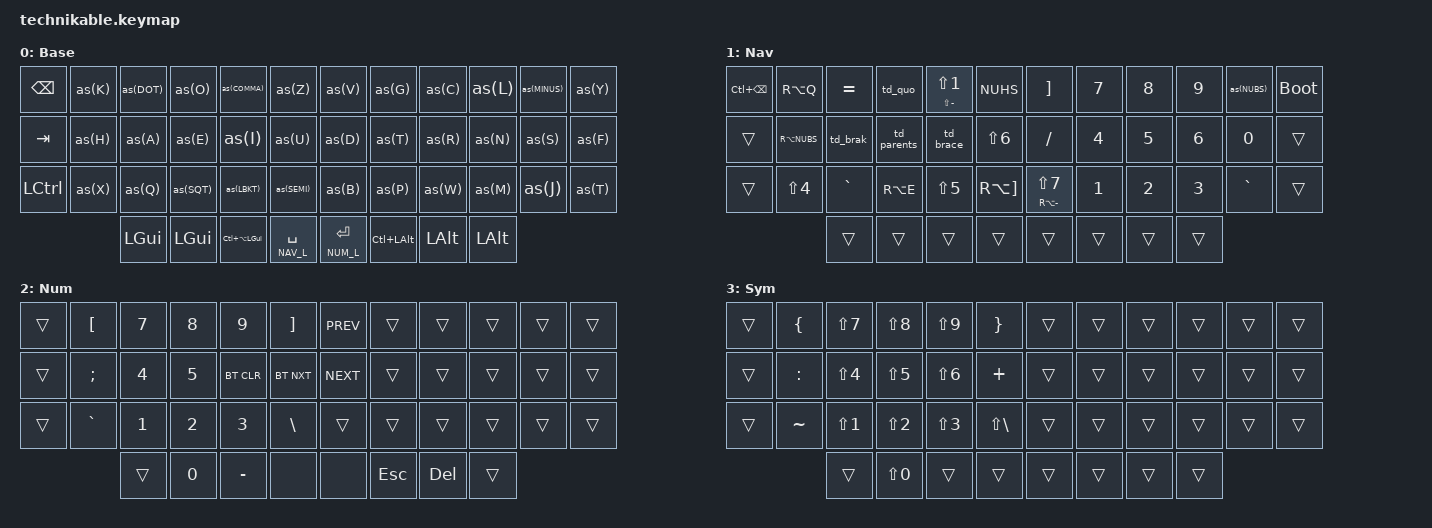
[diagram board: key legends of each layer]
/*
 * Copyright (c) 2022 Pete Johanson
 *
 * SPDX-License-Identifier: MIT
 */

#include <behaviors.dtsi>
#include <dt-bindings/zmk/keys.h>
#include <dt-bindings/zmk/bt.h>
#include <dt-bindings/zmk/outputs.h>

#define QWERTY_BASE 1

#define TBLE_ORTHO   true
// #define TBLE_MIT     true
// #define TBLE_DUAL_2U true

#define BAS_L 0
#define NAV_L 1
#define NUM_L 2
#define SYM_L 3

// Using layer taps on thumbs, having quick tap as well helps w/ repeating space/backspace
&lt { quick_tap_ms = <200>; };

#define BT(n) BT_SEL n
#define as(x) mt LS(x) x

/ {
    chosen {
       zmk,matrix_transform =
#ifdef TBLE_DUAL_2U
                       &dual_2u_transform;
#elif defined(TBLE_MIT)
                       &mit_transform;
#else
                       &ortho_transform;
#endif
    };

    conditional_layers {
        compatible = "zmk,conditional-layers";
        tri_layer {
          if-layers = <NAV_L NUM_L>;
          then-layer = <SYM_L>;
        };
    };

#define hold_tap_tap_dance_two_macros(labl, ht_labl, a1, a2, m1, m2) ht_labl: ht_labl {\
            compatible = "zmk,behavior-hold-tap";\
            label = #ht_labl;\
            #binding-cells = <2>;\
            flavor = "hold-preferred";\
            tapping-term-ms = <140>;\
            quick-tap-ms = <140>;\
            bindings = <m2>, <m1>;\
        };\
    labl: labl {\
            compatible = "zmk,behavior-tap-dance";\
            label = #labl;\
            #binding-cells = <0>;\
            tapping-term-ms = <140>;\
            bindings = <&mt a2 a1>, <&ht_labl 0 0>;\
        };

#define two_macros(l1, l2, s1, s2) l1: l1 {\
label = #l1;\
 compatible =  "zmk,behavior-macro";\
            #binding-cells = <0>;\
            wait-ms =<40>;\
            tap-ms =<40>;\
            bindings = s1;\
 };\
l2: l2 {\
label = #l2;\
 compatible =  "zmk,behavior-macro";\
            #binding-cells = <0>;\
            wait-ms =<40>;\
            tap-ms =<40>;\
            bindings = s2;\
 };

    behaviors {
        hold_tap_tap_dance_two_macros(td_parents, ht_td_parents, LS(N8), LS(N9), &parents_in, &parents_out)
        hold_tap_tap_dance_two_macros(td_quo, quotes_hold_tap, LS(N2), LS(NUHS), &d_quo, &s_quo)
        hold_tap_tap_dance_two_macros(td_brak, brackets_hold_tap, RA(N8), RA(N9), &brack_in, &brack_out)
        hold_tap_tap_dance_two_macros(td_brace, braces_hold_tap, RA(N7), RA(N0), &brace_in, &brace_out)
    };


    macros {
        two_macros(parents_in, parents_out, <&kp LS(N8) &kp LS(N9) &kp LEFT>, <&kp LS(N8) &kp LS(N9)>)
        two_macros(d_quo, s_quo, <&kp LS(N2) &kp LS(N2) &kp LEFT>, <&kp LS(NUHS) &kp LS(NUHS) &kp LEFT>)
        two_macros(brack_in, brack_out, <&kp RA(N8) &kp RA(N9) &kp LEFT>, <&kp RA(N8) &kp RA(N9)>)
        two_macros(brace_in, brace_out, <&kp RA(N7) &kp RA(N0) &kp LEFT>, <&kp RA(N7) &kp RA(N0)>)
    };

    keymap {
        compatible = "zmk,keymap";

        base_layer {
            label = "Base";
            bindings = <
                &kp BSPC   &as(K)      &as(DOT)    &as(O)       &as(COMMA)       &as(Z)          &as(V)            &as(G)          &as(C)       &as(L)      &as(MINUS)  &as(Y)
                &kp TAB    &as(H)      &as(A)      &as(E)       &as(I)           &as(U)          &as(D)            &as(T)          &as(R)       &as(N)      &as(S)      &as(F)
                &kp LCTRL  &as(X)      &as(Q)      &as(SQT)     &as(LBKT)        &as(SEMI)       &as(B)            &as(P)          &as(W)       &as(M)      &as(J)      &as(T)
                                       &kp LGUI    &kp LGUI     &kp LC(LA(LGUI)) &lt NAV_L SPACE &lt NUM_L RET     &kp LC(LALT)    &kp LALT     &kp LALT
            >;
        };

        nav_layer {
            label = "Nav";
            bindings = <
                &kp LC(BSPC) &kp RA(Q)     &kp EQUAL  &td_quo     &mt LS(MINUS) LS(N1)  &kp NUHS     &kp RBKT              &kp N7         &kp N8      &kp N9     &as(NUBS)  &bootloader
                &trans       &kp RA(NUBS)  &td_brak   &td_parents &td_brace             &kp LS(N6)   &kp SLASH             &kp N4         &kp N5      &kp N6     &kp N0     &trans
                &trans       &kp LS(N4)    &kp GRAVE  &kp RA(E)   &kp LS(N5)             &kp RA(RBKT) &mt RA(MINUS) LS(N7)  &kp N1         &kp N2      &kp N3     &kp GRAVE  &trans
                                           &trans     &trans      &trans                &trans       &trans                &trans         &trans      &trans
            >;
        };

        num_layer {
            label = "Num";
            bindings = <
                &trans     &kp LBKT   &kp N7     &kp N8      &kp N9    &kp RBKT    &kp C_PREV    &trans         &trans       &trans       &trans     &trans
                &trans     &kp SEMI   &kp N4     &kp N5      &bt BT_CLR    &bt BT_NXT   &kp C_NEXT    &trans         &trans       &trans       &trans     &trans
                &trans     &kp GRAVE  &kp N1     &kp N2      &kp N3    &kp BSLH    &trans        &trans         &trans       &trans       &trans     &trans
                                      &trans     &kp N0      &kp MINUS    &none         &none     &kp ESC        &kp DEL      &trans
            >;
        };

        sym_layer {
            label = "Sym";
            bindings = <
&trans     &kp LBRC   &kp LS(N7) &kp LS(N8)  &kp LS(N9)   &kp RBRC     &trans     &trans    &trans       &trans       &trans     &trans
&trans     &kp COLON  &kp LS(N4) &kp LS(N5)  &kp LS(N6)   &kp PLUS     &trans     &trans    &trans       &trans       &trans     &trans
&trans     &kp TILDE  &kp LS(N1) &kp LS(N2)  &kp LS(N3)   &kp LS(BSLH) &trans     &trans    &trans       &trans       &trans     &trans
                      &trans     &kp LS(N0)      &trans          &trans       &trans    &trans  &trans         &trans
            >;
        };

    };
};

